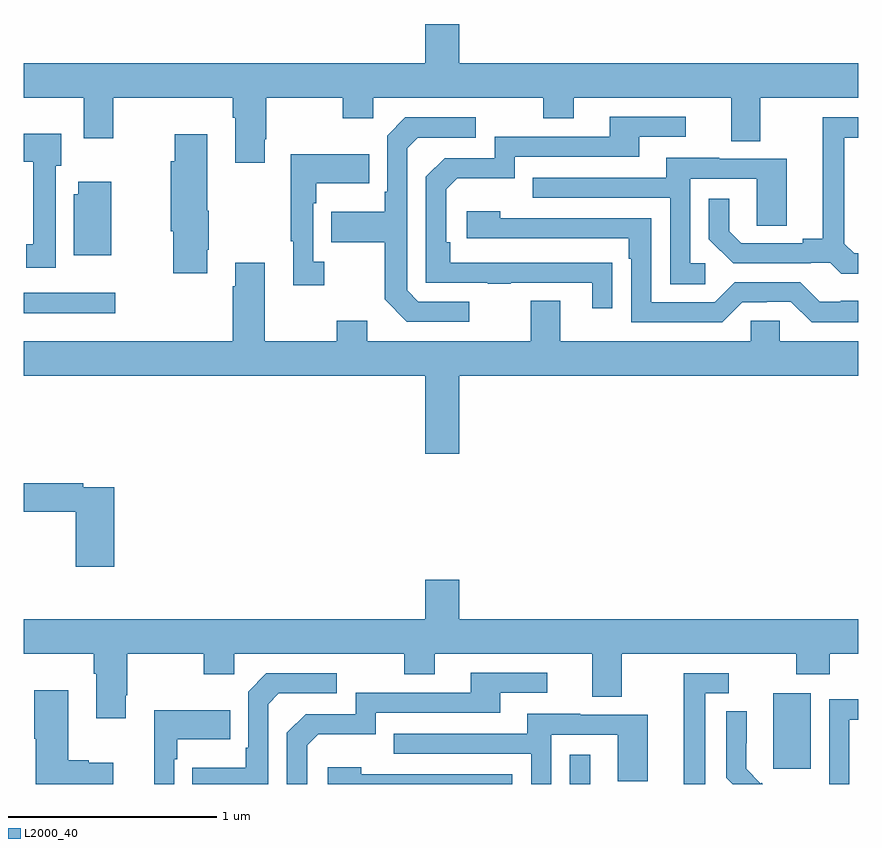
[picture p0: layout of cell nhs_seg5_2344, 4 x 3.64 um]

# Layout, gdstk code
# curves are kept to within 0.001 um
import gdstk
lib = gdstk.Library(unit=1e-6, precision=1e-09)
def R(c, l, rs):  # rectangles x0, y0, x1, y1
    for r in rs: c.add(gdstk.rectangle(r[:2], r[2:], *l))
def P(c, l, *ps):  # polygons
    for p in ps: c.add(gdstk.Polygon(p, *l))
L2000_40 = (2000, 40)

nhs_seg5_2344 = lib.new_cell('nhs_seg5_2344')
R(nhs_seg5_2344, L2000_40, [(249.618,858.799,249.715,858.94), (250.592,858.873,250.771,859.234), (247,861.056,247.438,861.153)])
P(nhs_seg5_2344, L2000_40, [(248.155,861.889),(248.163,861.889),(248.163,862.088),(248.53,862.088),(248.53,861.989),(248.676,861.989),(248.676,862.088),(249.49,862.088),(249.49,861.989),(249.637,861.989),(249.637,862.088),(250.391,862.088),(250.391,861.88),(250.531,861.88),(250.531,862.088),(251,862.088),(251,862.252),(249.088,862.252),(249.088,862.441),(248.924,862.441),(248.924,862.252),(247,862.252),(247,862.088),(247.289,862.088),(247.289,861.894),(247.429,861.894),(247.429,862.088),(248.003,862.088),(248.003,861.992),(248.015,861.992),(248.015,861.777),(248.155,861.777)],
  [(249.821,861.296),(249.044,861.297),(249.044,861.394),(249.024,861.394),(249.024,861.648),(249.077,861.701),(249.354,861.701),(249.354,861.804),(249.949,861.804),(249.949,861.9),(250.174,861.9),(250.174,861.996),(249.809,861.996),(249.809,861.9),(249.258,861.9),(249.258,861.798),(249.018,861.798),(248.928,861.708),(248.928,861.201),(249.223,861.201),(249.223,861.196),(249.335,861.196),(249.335,861.201),(249.725,861.201),(249.725,861.078),(249.821,861.078)],
  [(249.136,861.111),(248.892,861.111),(248.838,861.165),(248.838,861.846),(248.889,861.897),(249.166,861.897),(249.166,861.993),(248.829,861.993),(248.742,861.906),(248.742,861.637),(248.73,861.637),(248.73,861.541),(248.473,861.541),(248.473,861.394),(248.73,861.394),(248.73,861.121),(248.835,861.015),(249.136,861.015)],
  [(251,861.342),(250.98,861.342),(250.933,861.389),(250.933,861.897),(251,861.897),(251,861.993),(250.829,861.993),(250.829,861.413),(250.733,861.413),(250.733,861.39),(250.438,861.39),(250.381,861.447),(250.381,861.604),(250.284,861.604),(250.284,861.41),(250.4,861.294),(250.772,861.294),(250.772,861.297),(250.866,861.297),(250.918,861.245),(251,861.245)],
  [(247.153,861.762),(247.18,861.762),(247.18,861.916),(247,861.916),(247,861.782),(247.046,861.782),(247.046,861.386),(247.013,861.386),(247.013,861.273),(247.153,861.273)],
  [(247.879,861.358),(247.887,861.358),(247.887,861.547),(247.879,861.547),(247.879,861.913),(247.724,861.913),(247.724,861.783),(247.706,861.783),(247.706,861.447),(247.717,861.447),(247.717,861.246),(247.879,861.246)],
  [(248.44,861.302),(248.388,861.302),(248.388,861.581),(248.401,861.581),(248.401,861.677),(248.657,861.677),(248.657,861.817),(248.28,861.817),(248.28,861.401),(248.291,861.401),(248.291,861.189),(248.44,861.189)],
  [(250.267,861.294),(250.194,861.294),(250.194,861.699),(250.512,861.699),(250.512,861.475),(250.657,861.475),(250.657,861.795),(250.333,861.795),(250.333,861.799),(250.079,861.799),(250.079,861.705),(249.439,861.705),(249.439,861.609),(250.098,861.609),(250.098,861.193),(250.267,861.193)],
  [(247.42,861.685),(247.262,861.685),(247.262,861.624),(247.241,861.624),(247.241,861.332),(247.42,861.332)],
  [(251,861.115),(250.915,861.115),(250.915,861.111),(250.815,861.111),(250.722,861.204),(250.407,861.204),(250.311,861.108),(250.008,861.108),(250.008,861.51),(249.284,861.51),(249.284,861.544),(249.123,861.544),(249.123,861.414),(249.899,861.414),(249.899,861.317),(249.912,861.317),(249.912,861.012),(250.347,861.012),(250.443,861.108),(250.562,861.108),(250.562,861.111),(250.677,861.111),(250.777,861.011),(251,861.011)],
  [(249.088,860.756),(251,860.756),(251,860.92),(250.623,860.92),(250.623,861.018),(250.485,861.018),(250.485,860.92),(249.571,860.92),(249.571,861.115),(249.431,861.115),(249.431,860.92),(248.647,860.92),(248.647,861.019),(248.5,861.019),(248.5,860.92),(248.155,860.92),(248.155,861.298),(248.015,861.298),(248.015,861.185),(248.003,861.185),(248.003,860.92),(247,860.92),(247,860.756),(248.924,860.756),(248.924,860.382),(249.088,860.382)],
  [(247.433,860.22),(247.286,860.22),(247.286,860.24),(247,860.24),(247,860.104),(247.25,860.104),(247.25,859.839),(247.433,859.839)],
  [(247.489,859.225),(247.497,859.225),(247.497,859.424),(247.864,859.424),(247.864,859.325),(248.01,859.325),(248.01,859.424),(248.824,859.424),(248.824,859.325),(248.971,859.325),(248.971,859.424),(249.725,859.424),(249.725,859.216),(249.865,859.216),(249.865,859.424),(250.702,859.424),(250.702,859.325),(250.862,859.325),(250.862,859.424),(251,859.424),(251,859.588),(249.088,859.588),(249.088,859.777),(248.924,859.777),(248.924,859.588),(247,859.588),(247,859.424),(247.337,859.424),(247.337,859.328),(247.349,859.328),(247.349,859.113),(247.489,859.113)],
  [(248.358,858.984),(248.411,859.037),(248.688,859.037),(248.688,859.14),(249.283,859.14),(249.283,859.236),(249.508,859.236),(249.508,859.332),(249.143,859.332),(249.143,859.236),(248.592,859.236),(248.592,859.134),(248.352,859.134),(248.262,859.044),(248.262,858.799),(248.358,858.799)],
  [(248.172,859.182),(248.223,859.233),(248.5,859.233),(248.5,859.329),(248.163,859.329),(248.076,859.242),(248.076,858.973),(248.064,858.973),(248.064,858.877),(247.807,858.877),(247.807,858.799),(248.172,858.799)],
  [(250.267,859.233),(250.378,859.233),(250.378,859.329),(250.163,859.329),(250.163,858.799),(250.267,858.799)],
  [(247.429,858.901),(247.313,858.901),(247.313,858.914),(247.213,858.914),(247.213,859.249),(247.051,859.249),(247.051,859.015),(247.058,859.015),(247.058,858.799),(247.429,858.799)],
  [(250.956,859.107),(251,859.107),(251,859.206),(250.86,859.206),(250.86,858.799),(250.956,858.799)],
  [(247.722,858.917),(247.735,858.917),(247.735,859.013),(247.991,859.013),(247.991,859.153),(247.625,859.153),(247.625,858.799),(247.722,858.799)],
  [(250.536,858.804),(250.533,858.801),(250.463,858.872),(250.463,858.994),(250.464,858.994),(250.464,859.148),(250.368,859.148),(250.368,858.83),(250.399,858.799),(250.541,858.799)],
  [(249.528,859.035),(249.846,859.035),(249.846,858.811),(249.991,858.811),(249.991,859.131),(249.667,859.131),(249.667,859.135),(249.413,859.135),(249.413,859.041),(248.773,859.041),(248.773,858.945),(249.432,858.945),(249.432,858.799),(249.528,858.799)],
  [(249.342,858.846),(248.618,858.846),(248.618,858.88),(248.457,858.88),(248.457,858.799),(249.342,858.799)])

lib.write_gds('nhs_seg5_2344.gds')
